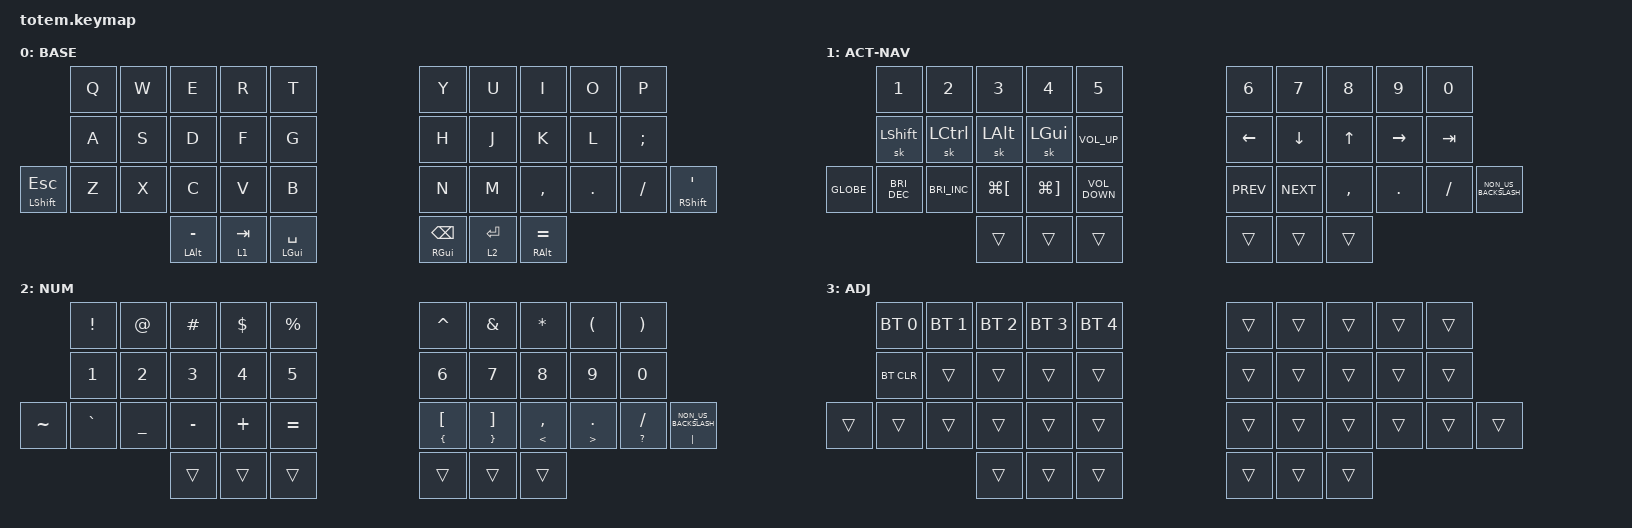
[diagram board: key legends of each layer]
#include <behaviors.dtsi>
#include <dt-bindings/zmk/bt.h>
#include <dt-bindings/zmk/keys.h>

#define BASE 0
#define NAV  1
#define NUM  2
#define ADJ  3

&sk { quick-release; };

/ {
    combos {
        compatible = "zmk,combos";

        // Left Hand Utilities
        // HYPER & CAPS combos (Requirement 1)

        left_hyper {
            key-positions = <10 11 12 13>;    // Z + X
            bindings = <&sk LS(LC(LA(LCMD)))>; // Native Hyper
            layers = <0>;
            timeout-ms = <125>;
        };

        // Right Hand Punctuation Combos

        right_hyper {
            bindings = <&sk LS(LC(LA(LCMD)))>;
            key-positions = <17 18 19 16>;
            layers = <0>;
            timeout-ms = <125>;
        };

        left_meh {
            bindings = <&sk LC(LA(LGUI))>;
            key-positions = <11 12 13>;
            layers = <0>;
            timeout-ms = <125>;
        };

        right_meh {
            bindings = <&sk LC(LA(LGUI))>;
            key-positions = <17 18 16>;
            layers = <0>;
            timeout-ms = <125>;
        };

        switch_windows {
            bindings = <&kp LC(LA(LG(J)))>;
            key-positions = <23 24>;
            layers = <1>;
            timeout-ms = <125>;
        };

        mute {
            bindings = <&kp K_MUTE>;
            key-positions = <14 25>;
            layers = <1>;
            timeout-ms = <125>;
        };

        esc {
            bindings = <&kp ESC>;
            key-positions = <1 2 3>;
            layers = <0>;
            timeout-ms = <125>;
        };

        return {
            bindings = <&kp RET>;
            key-positions = <6 7 8>;
            layers = <0>;
            timeout-ms = <125>;
        };

        caps_word {
            bindings = <&caps_word>;
            key-positions = <20 31>;
            layers = <0>;
            timeout-ms = <125>;
        };

        left_cmd {
            bindings = <&sk LEFT_GUI>;
            key-positions = <22 23 24>;
            layers = <0>;
            timeout-ms = <125>;
        };

        right_cmd {
            bindings = <&sk RIGHT_GUI>;
            key-positions = <27 28 29>;
            timeout-ms = <125>;
            layers = <0>;
        };

        sticky_shift {
            bindings = <&sk LSHIFT>;
            key-positions = <33 36>;
            timeout-ms = <125>;
            layers = <0>;
        };

        play_pause {
            bindings = <&kp K_PLAY_PAUSE>;
            key-positions = <27 26>;
            layers = <1>;
            timeout-ms = <125>;
        };

        globe {
            bindings = <&kp GLOBE>;
            key-positions = <32 37>;
            layers = <0>;
            timeout-ms = <125>;
        };

        num_backspace {
            bindings = <&kp BACKSPACE>;
            key-positions = <6 5>;
            timeout-ms = <125>;
            layers = <2>;
        };
    };

    conditional_layers {
        compatible = "zmk,conditional-layers";

        // Activates Adjust/Bluetooth layer when holding both NAV and NUM
    };

    behaviors {
        urob_hold_tap_left: urob_hold_tap_left {
            compatible = "zmk,behavior-hold-tap";
            label = "UROB_HOLD_TAP_LEFT";
            bindings = <&kp>, <&kp>;

            #binding-cells = <2>;
            flavor = "balanced";
            tapping-term-ms = <300>;
            quick-tap-ms = <175>;
            require-prior-idle-ms = <200>;
            hold-trigger-key-positions = <26 27 15 16 5 6 7 17 28 8 18 29 9 19 30 31 35 36 37>;
            hold-trigger-on-release;
        };

        urob_hold_tap_right: urob_hold_tap_right {
            compatible = "zmk,behavior-hold-tap";
            label = "UROB_HOLD_TAP_RIGHT";
            bindings = <&kp>, <&kp>;

            #binding-cells = <2>;
            flavor = "balanced";
            tapping-term-ms = <300>;
            quick-tap-ms = <175>;
            require-prior-idle-ms = <200>;
            hold-trigger-key-positions = <34 32 33 25 24 23 12 13 0 1 2 3 4 10 11 12 13 14 20 21 22 23 24 25 32 33 34>;
            hold-trigger-on-release;
        };

        sk_caps: sk_caps {
            compatible = "zmk,behavior-mod-morph";
            label = "SK_CAPS";
            bindings = <&sk LSHFT>, <&caps_word>;

            #binding-cells = <0>;
            mods = <(MOD_LSFT)>;
        };

        shft_smart: shft_smart {
            compatible = "zmk,behavior-hold-tap";
            label = "SHFT_SMART";
            bindings = <&kp>, <&sk_caps>;

            #binding-cells = <2>;
            tapping-term-ms = <200>;
            quick-tap-ms = <200>;
            flavor = "tap-preferred";
        };
    };

    keymap {
        compatible = "zmk,keymap";

        base_layer {
            label = "BASE";
            bindings = <
                                &kp Q  &kp W  &kp E                               &kp R      &kp T                             &kp Y                                &kp U      &kp I                            &kp O    &kp P
                                &kp A  &kp S  &kp D                               &kp F      &kp G                             &kp H                                &kp J      &kp K                            &kp L    &kp SEMI
&urob_hold_tap_left LSHIFT ESC  &kp Z  &kp X  &kp C                               &kp V      &kp B                             &kp N                                &kp M      &kp COMMA                        &kp DOT  &kp FSLH  &urob_hold_tap_right RIGHT_SHIFT SQT
                                              &urob_hold_tap_left LEFT_ALT MINUS  &lt 1 TAB  &urob_hold_tap_left LGUI SPACE    &urob_hold_tap_right RGUI BACKSPACE  &lt 2 RET  &urob_hold_tap_right RALT EQUAL
            >;
        };

        action-nav_layer {
            bindings = <
           &kp N1                &kp N2                &kp N3                &kp N4                 &kp N5               &kp N6      &kp N7      &kp N8     &kp N9      &kp N0
           &sk LSHFT             &sk LCTRL             &sk LALT              &sk LGUI               &kp K_VOLUME_UP      &kp LEFT    &kp DOWN    &kp UP     &kp RIGHT   &kp TAB
&kp GLOBE  &kp C_BRIGHTNESS_DEC  &kp C_BRIGHTNESS_INC  &kp LG(LEFT_BRACKET)  &kp LG(RIGHT_BRACKET)  &kp K_VOLUME_DOWN    &kp K_PREV  &kp K_NEXT  &kp COMMA  &kp PERIOD  &kp SLASH  &kp NON_US_BACKSLASH
                                                       &trans                &trans                 &trans               &trans      &trans      &trans
            >;

            label = "ACT-NAV";
        };

        num_layer {
            label = "NUM";
            bindings = <
           &kp EXCL   &kp AT          &kp HASH   &kp DOLLAR  &kp PERCENT    &kp CARET                                     &kp AMPS                                        &kp ASTRK                             &kp LEFT_PARENTHESIS                      &kp RIGHT_PARENTHESIS
           &kp N1     &kp N2          &kp N3     &kp N4      &kp N5         &kp N6                                        &kp N7                                          &kp N8                                &kp N9                                    &kp N0
&kp TILDE  &kp GRAVE  &kp UNDERSCORE  &kp MINUS  &kp PLUS    &kp EQUAL      &urob_hold_tap_right LEFT_BRACE LEFT_BRACKET  &urob_hold_tap_right RIGHT_BRACE RIGHT_BRACKET  &urob_hold_tap_right LESS_THAN COMMA  &urob_hold_tap_right GREATER_THAN PERIOD  &urob_hold_tap_right QUESTION SLASH  &urob_hold_tap_right PIPE NON_US_BACKSLASH
                                      &trans     &trans      &trans         &trans                                        &trans                                          &trans
            >;
        };

        adjust_layer {
            label = "ADJ";
            bindings = <
        &bt BT_SEL 0  &bt BT_SEL 1  &bt BT_SEL 2  &bt BT_SEL 3  &bt BT_SEL 4    &trans  &trans  &trans  &trans  &trans
        &bt BT_CLR    &trans        &trans        &trans        &trans          &trans  &trans  &trans  &trans  &trans
&trans  &trans        &trans        &trans        &trans        &trans          &trans  &trans  &trans  &trans  &trans  &trans
                                    &trans        &trans        &trans          &trans  &trans  &trans
            >;
        };
    };
};
